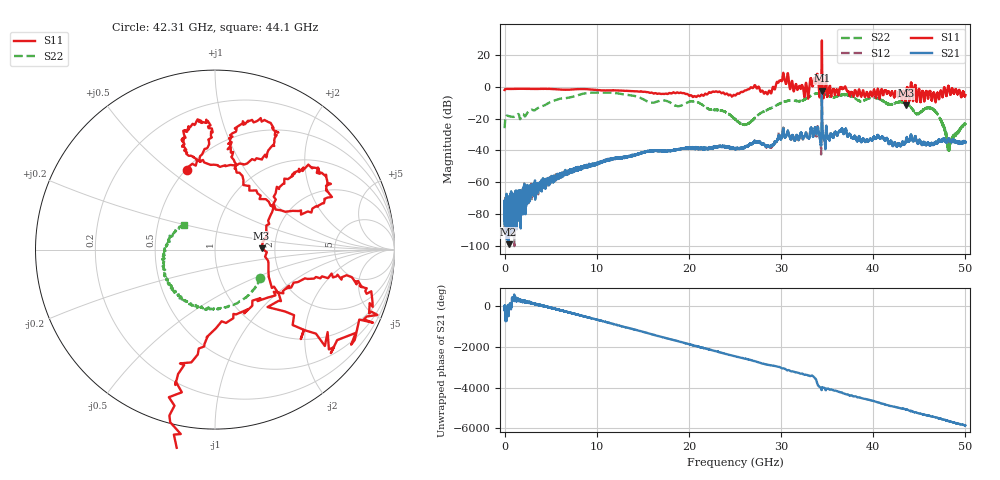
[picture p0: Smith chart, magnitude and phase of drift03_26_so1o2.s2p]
!Created with skrf (http://scikit-rf.org).
# Hz S RI R 50.0
!freq ReS11 ImS11 ReS21 ImS21 ReS12 ImS12 ReS22 ImS22
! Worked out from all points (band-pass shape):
!   10000 points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, 5.3 MHz to 50 GHz, reference 50 ohm
!   highest |S21| = -2.55 dB at 34.43 GHz (marker M1); lowest = -99.1 dB at 435.3 MHz (marker M2)
!   |S21| within 3 dB of the highest: 34.42759 GHz to 34.43441 GHz (6.815 MHz wide, 0.0198 % of centre)
!   lowest |S11| = -11.7 dB at 43.52 GHz (marker M3), VSWR 1.70, Z = 85 + j1.14 ohm
!   |S11| at or under -10 dB: 43.49507 GHz to 43.54399 GHz (48.92 MHz wide, 0.112 % of centre)
!   |S22| runs from -40.2 to -3.6 dB; largest |S21 - S12| = 0.23
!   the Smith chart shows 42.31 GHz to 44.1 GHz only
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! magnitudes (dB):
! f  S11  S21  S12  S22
! 5.3 MHz  -2.1  -75.6  -91.9  -26.1
! 435.3 MHz  -1.4  -99.1  -79.5  -18.5
! 1.67 GHz  -1.3  -69.6  -66.8  -20.4
! 8.34 GHz  -1.5  -50.6  -50.9  -4.7
! 16.67 GHz  -4.4  -40.4  -40.1  -9.1
! 20.75 GHz  -6.3  -38.8  -38.2  -9.4
! 25.01 GHz  -5.5  -38.8  -39.1  -20.4
! 26.22 GHz  -2.2  -37.4  -37.8  -23.8
! 28.72 GHz  -2.5  -37.6  -37.6  -14.0
! 30.14 GHz  4.4  -29.4  -29.7  -9.9
! 32.74 GHz  2.0  -29.7  -29.3  -7.3
! 33.34 GHz  2.5  -27.4  -27.7  -5.3
! 33.82 GHz  4.0  -29.2  -29.4  -4.3
! 34.43 GHz  29.0  -2.6  -4.5  -4.0
! 36.49 GHz  -0.2  -27.8  -27.9  -5.2
! 41.67 GHz  -3.1  -35.4  -35.6  -11.1
! 43.52 GHz  -11.7  -34.3  -34.3  -10.3
! 44.74 GHz  -8.9  -34.7  -34.4  -17.1
! 46.65 GHz  -5.0  -35.6  -36.0  -14.8
! 47.5 GHz  -6.2  -33.4  -33.7  -23.4
! 48.22 GHz  -0.4  -33.2  -32.8  -37.6
! 50 GHz  -5.3  -34.9  -34.9  -23.1
